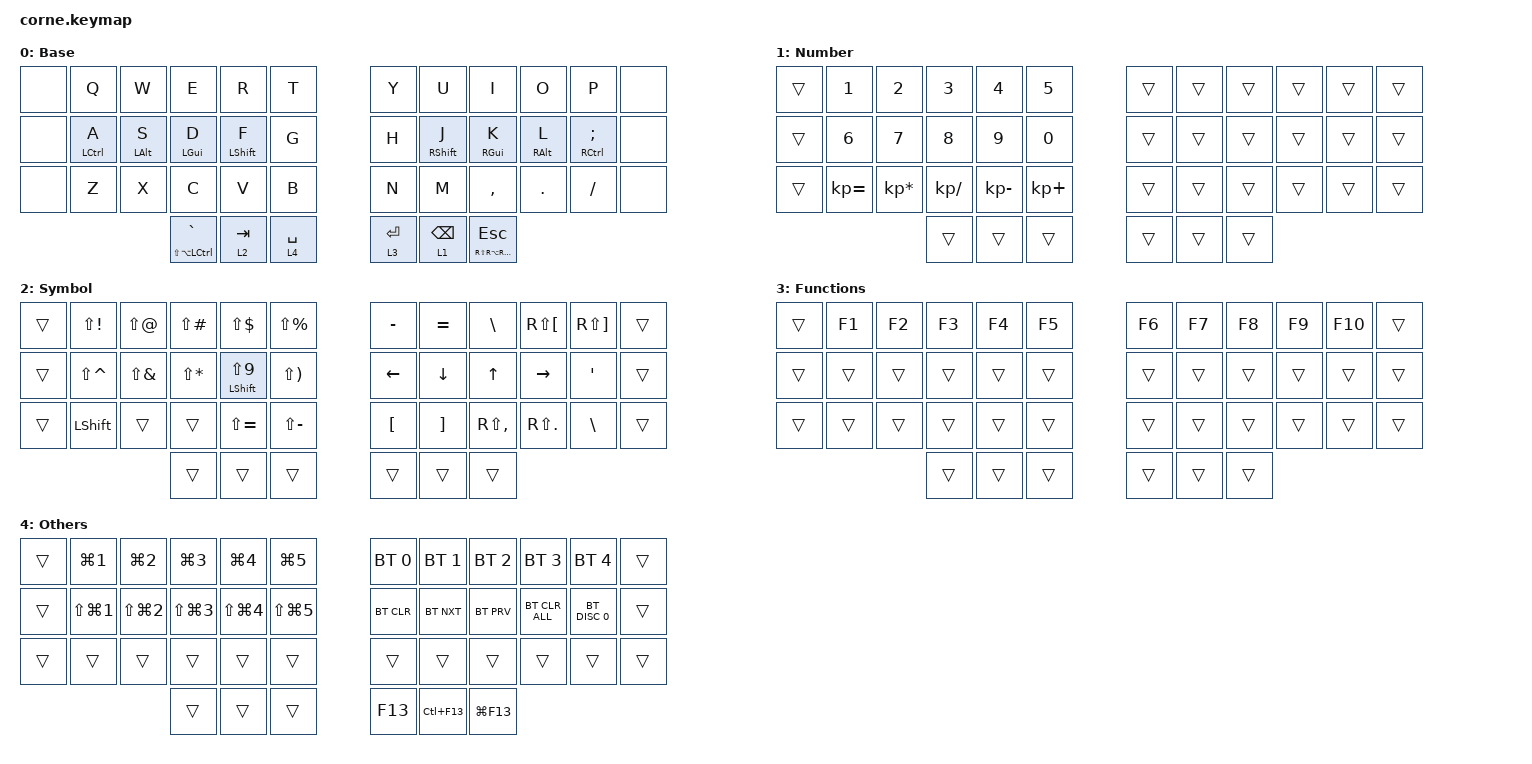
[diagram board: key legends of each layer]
#include <behaviors.dtsi>
#include <dt-bindings/zmk/bt.h>
#include <dt-bindings/zmk/keys.h>

&mt {
    flavor = "tap-preferred";
    tapping-term-ms = <220>;
    quick-tap-ms = <150>;
    retro-tap;
};

&lt {
    tapping-term-ms = <220>;
    quick-tap-ms = <150>;
    retro-tap;
};

/ {
    keymap {
        compatible = "zmk,keymap";

        Base {
            bindings = <
&none  &kp Q               &kp W           &kp E                    &kp R             &kp T          &kp Y        &kp U              &kp I                              &kp O            &kp P                &none
&none  &mt LEFT_CONTROL A  &mt LEFT_ALT S  &mt LEFT_GUI D           &mt LEFT_SHIFT F  &kp G          &kp H        &mt RIGHT_SHIFT J  &mt RIGHT_GUI K                    &mt RIGHT_ALT L  &mt RCTRL SEMICOLON  &none
&none  &kp Z               &kp X           &kp C                    &kp V             &kp B          &kp N        &kp M              &kp COMMA                          &kp DOT          &kp SLASH            &none
                                           &mt LS(LA(LCTRL)) GRAVE  &lt 2 TAB         &lt 4 SPACE    &lt 3 ENTER  &lt 1 BACKSPACE    &mt RS(RA(RG(RIGHT_CONTROL))) ESC
            >;
        };

        Number {
            bindings = <
&trans  &kp N1        &kp N2           &kp N3         &kp N4        &kp N5         &trans  &trans  &trans  &trans  &trans  &trans
&trans  &kp N6        &kp N7           &kp N8         &kp N9        &kp N0         &trans  &trans  &trans  &trans  &trans  &trans
&trans  &kp KP_EQUAL  &kp KP_MULTIPLY  &kp KP_DIVIDE  &kp KP_MINUS  &kp KP_PLUS    &trans  &trans  &trans  &trans  &trans  &trans
                                       &trans         &trans        &trans         &trans  &trans  &trans
            >;
        };

        Symbol {
            bindings = <
&trans  &kp LS(EXCL)    &kp LS(AT)    &kp LS(POUND)  &kp LS(DLLR)           &kp LS(PRCNT)    &kp MINUS         &kp EQUAL          &kp BACKSLASH  &kp RS(LEFT_BRACKET)  &kp RS(RIGHT_BRACKET)  &trans
&trans  &kp LS(CARET)   &kp LS(AMPS)  &kp LS(STAR)   &mt LEFT_SHIFT LS(N9)  &kp LS(RPAR)     &kp LEFT          &kp DOWN           &kp UP         &kp RIGHT             &kp SINGLE_QUOTE       &trans
&trans  &kp LEFT_SHIFT  &trans        &trans         &kp LS(EQUAL)          &kp LS(MINUS)    &kp LEFT_BRACKET  &kp RIGHT_BRACKET  &kp RS(COMMA)  &kp RS(PERIOD)        &kp BACKSLASH          &trans
                                      &trans         &trans                 &trans           &trans            &trans             &trans
            >;
        };

        Functions {
            bindings = <
&trans  &kp F1  &kp F2  &kp F3  &kp F4  &kp F5    &kp F6  &kp F7  &kp F8  &kp F9  &kp F10  &trans
&trans  &trans  &trans  &trans  &trans  &trans    &trans  &trans  &trans  &trans  &trans   &trans
&trans  &trans  &trans  &trans  &trans  &trans    &trans  &trans  &trans  &trans  &trans   &trans
                        &trans  &trans  &trans    &trans  &trans  &trans
            >;
        };

        Others {
            bindings = <
&trans  &kp LG(NUMBER_1)      &kp LG(NUMBER_2)      &kp LG(NUMBER_3)      &kp LG(NUMBER_4)      &kp LG(N5)        &bt BT_SEL 0  &bt BT_SEL 1  &bt BT_SEL 2  &bt BT_SEL 3    &bt BT_SEL 4   &trans
&trans  &kp LS(LG(NUMBER_1))  &kp LS(LG(NUMBER_2))  &kp LS(LG(NUMBER_3))  &kp LS(LG(NUMBER_4))  &kp LS(LG(N5))    &bt BT_CLR    &bt BT_NXT    &bt BT_PRV    &bt BT_CLR_ALL  &bt BT_DISC 0  &trans
&trans  &trans                &trans                &trans                &trans                &trans            &trans        &trans        &trans        &trans          &trans         &trans
                                                    &trans                &trans                &trans            &kp F13       &kp LC(F13)   &kp LG(F13)
            >;
        };
    };
};
